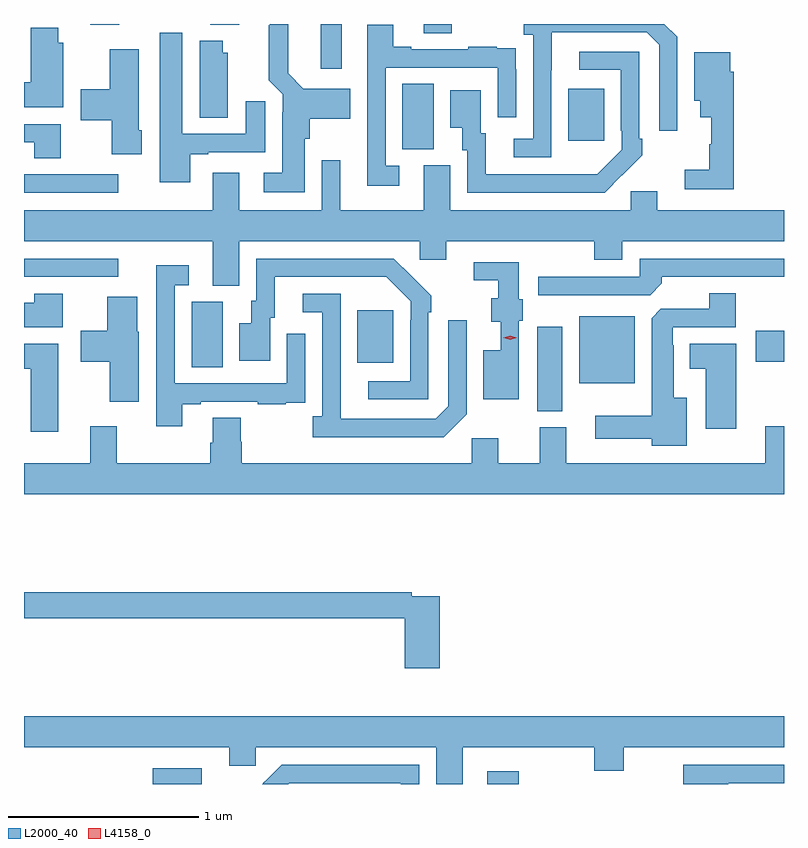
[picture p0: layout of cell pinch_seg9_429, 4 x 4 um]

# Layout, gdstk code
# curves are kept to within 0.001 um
import gdstk
lib = gdstk.Library(unit=1e-6, precision=1e-09)
def R(c, l, rs):  # rectangles x0, y0, x1, y1
    for r in rs: c.add(gdstk.rectangle(r[:2], r[2:], *l))
def P(c, l, *ps):  # polygons
    for p in ps: c.add(gdstk.Polygon(p, *l))
L2000_40 = (2000, 40)
L4158_0 = (4158, 0)

pinch_seg9_429 = lib.new_cell('pinch_seg9_429')
R(pinch_seg9_429, L2000_40, [(242.593,1205.551,242.851,1205.634), (244.353,1205.551,244.521,1205.617), (244.616,1207.513,244.75,1207.957), (244.838,1207.661,245.131,1208.014), (242.798,1207.744,242.962,1208.088), (243.671,1207.769,243.859,1208.044), (245.766,1207.774,245.916,1207.936), (241.916,1208.22,242.413,1208.316), (241.916,1208.664,242.413,1208.76), (243.908,1208.893,244.072,1209.236), (244.781,1208.937,244.969,1209.211), (243.479,1209.315,243.589,1209.551), (244.019,1209.502,244.167,1209.551), (242.264,1209.546,242.417,1209.551), (242.897,1209.548,243.049,1209.551)])
P(pinch_seg9_429, L2000_40, [(243.394,1208.946),(243.42,1208.946),(243.42,1209.053),(243.634,1209.053),(243.634,1209.211),(243.387,1209.211),(243.307,1209.292),(243.307,1209.551),(243.209,1209.551),(243.209,1209.545),(243.205,1209.545),(243.205,1209.254),(243.279,1209.18),(243.279,1209.086),(243.275,1209.086),(243.275,1208.767),(243.177,1208.767),(243.177,1208.666),(243.394,1208.666)],
  [(244.692,1209.307),(244.693,1209.507),(245.193,1209.507),(245.259,1209.441),(245.259,1208.988),(245.355,1208.988),(245.355,1209.483),(245.287,1209.551),(244.545,1209.551),(244.545,1209.494),(244.596,1209.494),(244.596,1208.946),(244.494,1208.946),(244.494,1208.85),(244.692,1208.85)],
  [(243.892,1208.805),(243.819,1208.805),(243.819,1209.321),(244.41,1209.321),(244.41,1209.06),(244.506,1209.06),(244.506,1209.314),(244.505,1209.314),(244.505,1209.423),(244.403,1209.423),(244.403,1209.43),(244.255,1209.43),(244.255,1209.417),(243.955,1209.417),(243.955,1209.43),(243.859,1209.43),(243.859,1209.547),(243.722,1209.547),(243.722,1209.324),(243.723,1209.324),(243.723,1208.957),(243.722,1208.957),(243.722,1208.7),(243.892,1208.7)],
  [(242.122,1209.453),(242.095,1209.453),(242.095,1209.532),(241.952,1209.532),(241.952,1209.244),(241.916,1209.244),(241.916,1209.113),(242.122,1209.113)],
  [(242.791,1208.865),(242.887,1208.865),(242.887,1208.877),(243.187,1208.877),(243.187,1209.145),(243.083,1209.145),(243.083,1208.973),(242.749,1208.973),(242.749,1209.505),(242.63,1209.505),(242.63,1208.718),(242.791,1208.718)],
  [(242.989,1209.399),(242.962,1209.399),(242.962,1209.463),(242.84,1209.463),(242.84,1209.058),(242.989,1209.058)],
  [(242.536,1208.991),(242.521,1208.991),(242.521,1209.418),(242.366,1209.418),(242.366,1209.207),(242.214,1209.207),(242.214,1209.044),(242.378,1209.044),(242.378,1208.865),(242.536,1208.865)],
  [(245.063,1208.755),(245.064,1208.754),(245.169,1208.859),(245.169,1208.947),(245.154,1208.947),(245.154,1209.405),(244.839,1209.405),(244.839,1209.309),(245.058,1209.309),(245.058,1208.989),(245.061,1208.989),(245.061,1208.889),(244.933,1208.761),(244.345,1208.76),(244.345,1208.976),(244.321,1208.976),(244.321,1209.202),(244.16,1209.202),(244.16,1209.005),(244.223,1209.005),(244.223,1208.886),(244.248,1208.886),(244.248,1208.664),(244.972,1208.664)],
  [(245.651,1209.299),(245.632,1209.299),(245.632,1209.403),(245.444,1209.403),(245.444,1209.146),(245.474,1209.146),(245.474,1209.059),(245.534,1209.059),(245.534,1208.919),(245.523,1208.919),(245.523,1208.783),(245.394,1208.783),(245.394,1208.682),(245.651,1208.682)],
  [(242.11,1209.024),(241.916,1209.024),(241.916,1208.928),(241.97,1208.928),(241.97,1208.845),(242.11,1208.845)],
  [(243.049,1208.408),(243.999,1208.408),(243.999,1208.31),(244.138,1208.31),(244.138,1208.408),(244.918,1208.408),(244.918,1208.309),(245.065,1208.309),(245.065,1208.408),(245.916,1208.408),(245.916,1208.572),(245.248,1208.572),(245.248,1208.67),(245.109,1208.67),(245.109,1208.572),(244.159,1208.572),(244.159,1208.808),(244.019,1208.808),(244.019,1208.572),(243.58,1208.572),(243.58,1208.833),(243.483,1208.833),(243.483,1208.572),(243.049,1208.572),(243.049,1208.767),(242.909,1208.767),(242.909,1208.572),(241.916,1208.572),(241.916,1208.408),(242.909,1208.408),(242.909,1208.173),(243.049,1208.173)],
  [(245.273,1208.186),(245.273,1208.22),(245.916,1208.22),(245.916,1208.316),(245.157,1208.316),(245.157,1208.22),(244.623,1208.22),(244.623,1208.124),(245.211,1208.124)],
  [(244.044,1208.033),(244.059,1208.033),(244.059,1208.121),(243.862,1208.316),(243.138,1208.316),(243.138,1208.094),(243.113,1208.094),(243.113,1207.975),(243.05,1207.975),(243.05,1207.779),(243.211,1207.779),(243.211,1208.004),(243.235,1208.004),(243.235,1208.22),(243.823,1208.22),(243.951,1208.091),(243.951,1207.991),(243.948,1207.991),(243.948,1207.671),(243.729,1207.671),(243.729,1207.575),(244.044,1207.575)],
  [(244.521,1207.989),(244.542,1207.989),(244.542,1208.103),(244.521,1208.103),(244.521,1208.298),(244.284,1208.298),(244.284,1208.202),(244.413,1208.202),(244.413,1208.107),(244.376,1208.107),(244.376,1207.985),(244.424,1207.985),(244.424,1207.834),(244.334,1207.834),(244.334,1207.577),(244.521,1207.577)],
  [(242.749,1207.551),(242.845,1207.551),(242.845,1207.563),(243.145,1207.563),(243.145,1207.551),(243.293,1207.551),(243.293,1207.557),(243.395,1207.557),(243.395,1207.666),(243.396,1207.666),(243.396,1207.921),(243.3,1207.921),(243.3,1207.659),(242.709,1207.659),(242.709,1208.175),(242.782,1208.175),(242.782,1208.281),(242.613,1208.281),(242.613,1207.434),(242.749,1207.434)],
  [(245.404,1207.585),(245.335,1207.585),(245.335,1207.859),(245.331,1207.859),(245.331,1207.956),(245.662,1207.956),(245.662,1208.135),(245.522,1208.135),(245.522,1208.052),(245.268,1208.052),(245.219,1208.003),(245.219,1207.489),(244.923,1207.489),(244.923,1207.367),(245.219,1207.367),(245.219,1207.331),(245.404,1207.331)],
  [(242.119,1208.131),(241.97,1208.131),(241.97,1208.085),(241.916,1208.085),(241.916,1207.955),(242.119,1207.955)],
  [(244.245,1207.497),(244.245,1207.993),(244.149,1207.993),(244.149,1207.539),(244.083,1207.473),(243.583,1207.473),(243.582,1208.13),(243.384,1208.13),(243.384,1208.034),(243.486,1208.034),(243.486,1207.486),(243.435,1207.486),(243.435,1207.376),(244.124,1207.376)],
  [(242.521,1207.932),(242.512,1207.932),(242.512,1208.116),(242.354,1208.116),(242.354,1207.936),(242.214,1207.936),(242.214,1207.774),(242.366,1207.774),(242.366,1207.563),(242.521,1207.563)],
  [(245.665,1207.867),(245.42,1207.867),(245.42,1207.736),(245.504,1207.736),(245.504,1207.422),(245.665,1207.422)],
  [(242.095,1207.867),(241.916,1207.867),(241.916,1207.736),(241.952,1207.736),(241.952,1207.404),(242.095,1207.404)],
  [(245.916,1207.435),(245.816,1207.435),(245.816,1207.24),(244.771,1207.24),(244.771,1207.428),(244.631,1207.428),(244.631,1207.24),(244.411,1207.24),(244.411,1207.372),(244.272,1207.372),(244.272,1207.24),(243.062,1207.24),(243.062,1207.353),(243.057,1207.353),(243.057,1207.478),(242.909,1207.478),(242.909,1207.346),(242.897,1207.346),(242.897,1207.24),(242.404,1207.24),(242.404,1207.435),(242.264,1207.435),(242.264,1207.24),(241.916,1207.24),(241.916,1207.076),(245.916,1207.076)],
  [(244.103,1206.54),(243.956,1206.54),(243.956,1206.56),(241.916,1206.56),(241.916,1206.424),(243.92,1206.424),(243.92,1206.159),(244.103,1206.159)],
  [(241.916,1205.744),(242.996,1205.744),(242.996,1205.646),(243.135,1205.646),(243.135,1205.744),(244.085,1205.744),(244.085,1205.551),(244.225,1205.551),(244.225,1205.744),(244.918,1205.744),(244.918,1205.62),(245.073,1205.62),(245.073,1205.744),(245.916,1205.744),(245.916,1205.908),(241.916,1205.908)],
  [(243.312,1205.556),(243.899,1205.556),(243.899,1205.551),(243.996,1205.551),(243.996,1205.652),(243.272,1205.652),(243.181,1205.561),(243.18,1205.562),(243.169,1205.551),(243.307,1205.551)],
  [(245.623,1205.556),(245.916,1205.556),(245.916,1205.652),(245.387,1205.652),(245.387,1205.551),(245.623,1205.551)])
P(pinch_seg9_429, L4158_0, [(244.474,1207.89),(244.439,1207.9),(244.439,1207.9),(244.439,1207.9),(244.474,1207.91),(244.509,1207.899),(244.509,1207.899),(244.509,1207.899)])

lib.write_gds('pinch_seg9_429.gds')
